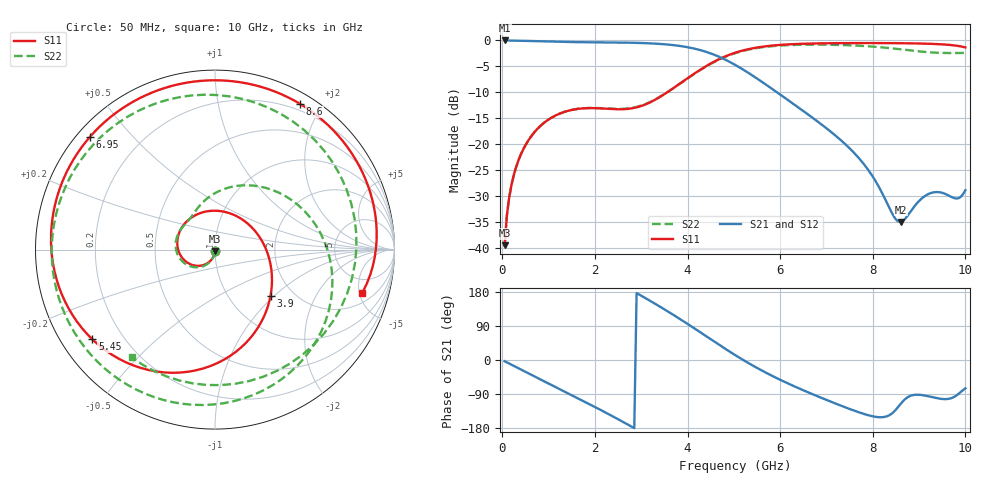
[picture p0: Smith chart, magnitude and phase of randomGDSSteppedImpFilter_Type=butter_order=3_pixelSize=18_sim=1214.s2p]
! freq	dB(S11)	phase(S11)	dB(S12)	phase(S12)
!  dB(S21)	phase(S21)	dB(S22)	phase(S22)
!S-par simulation data
#  GHz  S  DB  R 50
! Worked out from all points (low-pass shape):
!   200 points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, 50 MHz to 10 GHz, reference 50 ohm
!   highest |S21| = -0.01 dB at 50 MHz (marker M1); lowest = -35.0 dB at 8.6 GHz (marker M2)
!   |S21| within 3 dB of the highest: start of sweep to 4.642 GHz
!   lowest |S11| = -39.5 dB at 50 MHz (marker M3), VSWR 1.02, Z = 50 - j1.05 ohm
!   |S11| at or under -10 dB: start of sweep to 3.563 GHz
!   |S22| runs from -39.7 to -0.8 dB; largest |S21 - S12| = 0
!   S11 on the Smith chart (normalised r, x): 50 MHz: 1.00, -0.02; 3.9 GHz: 1.55, -0.94; 5.45 GHz: 0.09, -0.32; 6.95 GHz: 0.04, +0.39; 8.6 GHz: 0.12, +1.74; 10 GHz: 2.99, -5.36
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0.05  -39.54 -91.3  -0.01 -3.2  -0.01 -3.2  -39.70 -92.5
0.2  -27.80 -103.1  -0.03 -12.6  -0.03 -12.6  -27.80 -102.0
0.5  -20.22 -123.1  -0.08 -31.2  -0.08 -31.2  -20.21 -120.2
1.15  -14.48 -166.2  -0.24 -71.2  -0.24 -71.2  -14.48 -157.6
1.75  -13.11 151.5  -0.35 -108.2  -0.35 -108.2  -13.08 170.7
2.65  -13.26 73.4  -0.42 -166.3  -0.42 -166.3  -13.17 132.7
3.4  -10.93 0.4  -0.67 141.1  -0.67 141.1  -10.89 99.8
3.9  -7.92 -39.6  -1.15 103.2  -1.15 103.2  -7.95 63.6
4.55  -4.21 -85.4  -2.67 50.8  -2.67 50.8  -4.29 4.4
5.05  -2.31 -118.9  -4.83 11.3  -4.83 11.3  -2.40 -41.6
5.45  -1.44 -143.8  -7.05 -17.5  -7.05 -17.5  -1.54 -75.2
6  -0.86 -174.8  -10.44 -52.2  -10.44 -52.2  -0.99 -116.0
6.7  -0.60 149.8  -14.92 -90.3  -14.92 -90.3  -0.81 -162.6
6.95  -0.56 137.8  -16.60 -102.9  -16.60 -102.9  -0.82 -179.1
7.4  -0.52 116.5  -19.96 -124.6  -19.96 -124.6  -0.91 150.0
7.8  -0.51 97.7  -23.78 -142.0  -23.78 -142.0  -1.07 119.4
8.35  -0.52 71.7  -32.16 -146.2  -32.16 -146.2  -1.47 69.1
8.6  -0.54 59.7  -35.03 -116.0  -35.03 -116.0  -1.71 42.2
9  -0.59 40.2  -30.97 -91.7  -30.97 -91.7  -2.12 -5.9
9.4  -0.71 19.9  -29.26 -101.1  -29.26 -101.1  -2.38 -56.6
9.7  -0.90 3.3  -30.20 -100.5  -30.20 -100.5  -2.43 -93.4
10  -1.35 -16.3  -28.91 -74.7  -28.91 -74.7  -2.40 -127.6
